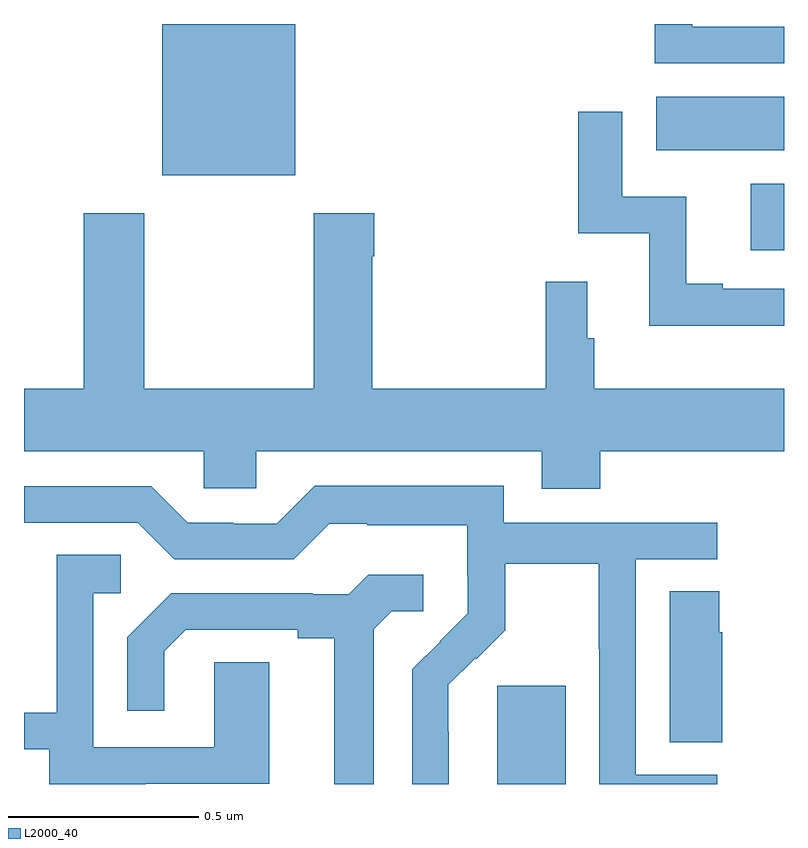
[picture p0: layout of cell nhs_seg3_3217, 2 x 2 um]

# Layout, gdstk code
import gdstk
lib = gdstk.Library(unit=1e-6, precision=1e-09)
def R(c, l, rs):  # rectangles x0, y0, x1, y1
    for r in rs: c.add(gdstk.rectangle(r[:2], r[2:], *l))
def P(c, l, *ps):  # polygons
    for p in ps: c.add(gdstk.Polygon(p, *l))
L2000_40 = (2000, 40)

nhs_seg3_3217 = lib.new_cell('nhs_seg3_3217')
R(nhs_seg3_3217, L2000_40, [(152.246,673.4,152.425,673.659), (152.912,674.804,153,674.98), (151.364,675.002,151.714,675.4), (152.664,675.068,153,675.208)])
P(nhs_seg3_3217, L2000_40, [(153,675.393),(152.758,675.393),(152.758,675.4),(152.66,675.4),(152.66,675.297),(153,675.297)],
  [(153,674.703),(152.839,674.703),(152.839,674.716),(152.743,674.716),(152.743,674.946),(152.574,674.946),(152.574,675.169),(152.458,675.169),(152.458,674.85),(152.645,674.85),(152.645,674.606),(153,674.606)],
  [(152.516,674.276),(153,674.276),(153,674.44),(152.501,674.44),(152.501,674.573),(152.482,674.573),(152.482,674.722),(152.373,674.722),(152.373,674.44),(151.917,674.44),(151.917,674.789),(151.922,674.789),(151.922,674.902),(151.762,674.902),(151.762,674.44),(151.317,674.44),(151.317,674.902),(151.157,674.902),(151.157,674.44),(151,674.44),(151,674.276),(151.473,674.276),(151.473,674.178),(151.611,674.178),(151.611,674.276),(152.363,674.276),(152.363,674.177),(152.516,674.177)],
  [(152.118,673.538),(152.117,673.538),(152.117,673.661),(152.187,673.731),(152.19,673.728),(152.267,673.805),(152.267,673.98),(152.512,673.98),(152.512,673.756),(152.514,673.756),(152.514,673.4),(152.824,673.4),(152.824,673.425),(152.61,673.425),(152.61,673.992),(152.824,673.992),(152.824,674.088),(152.262,674.088),(152.262,674.185),(151.765,674.185),(151.665,674.085),(151.55,674.085),(151.55,674.088),(151.431,674.088),(151.335,674.184),(151,674.184),(151,674.088),(151.299,674.088),(151.395,673.992),(151.71,673.992),(151.803,674.085),(151.903,674.085),(151.903,674.081),(152.166,674.081),(152.166,673.947),(152.168,673.947),(152.168,673.85),(152.094,673.776),(152.095,673.775),(152.022,673.702),(152.022,673.4),(152.118,673.4)],
  [(151.321,673.401),(151.645,673.401),(151.645,673.721),(151.5,673.721),(151.5,673.497),(151.182,673.497),(151.182,673.902),(151.255,673.902),(151.255,674.003),(151.086,674.003),(151.086,673.587),(151,673.587),(151,673.491),(151.067,673.491),(151.067,673.4),(151.321,673.4)],
  [(151.921,673.807),(151.968,673.854),(152.05,673.854),(152.05,673.951),(151.906,673.951),(151.854,673.899),(151.76,673.899),(151.76,673.902),(151.388,673.902),(151.272,673.786),(151.272,673.593),(151.369,673.593),(151.369,673.749),(151.426,673.806),(151.721,673.806),(151.721,673.784),(151.817,673.784),(151.817,673.4),(151.921,673.4)],
  [(152.838,673.799),(152.83,673.799),(152.83,673.907),(152.699,673.907),(152.699,673.51),(152.838,673.51)])

lib.write_gds('nhs_seg3_3217.gds')
